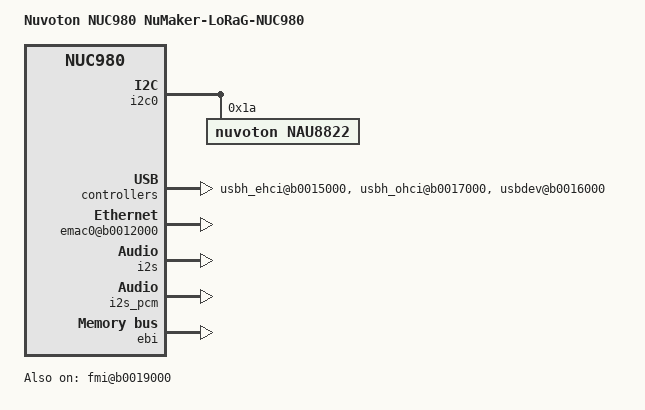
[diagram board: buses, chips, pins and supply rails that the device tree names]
/*
 * Device Tree Source for NUC980 DEV board
 *
 * Copyright (C) 2018 Nuvoton Technology Corp.
 *
 * The code contained herein is licensed under the GNU General Public
 * License. You may obtain a copy of the GNU General Public License
 * Version 2 or later at the following locations:
 *
 * http://www.opensource.org/licenses/gpl-license.html
 * http://www.gnu.org/copyleft/gpl.html
 */
/dts-v1/;

#include "nuc980.dtsi"

/ {
	model = "Nuvoton NUC980 NuMaker-LoRaG-NUC980";
	compatible = "nuvoton,nuc980-dev-v1.0", "nuvoton,nuc980";

	chosen {
		bootargs = "root=/dev/ram0 console=ttyS0,115200n8 rdinit=/sbin/init mem=64M lpj=744448";
	};

	apb {
		uart1: serial@b0071000 {
			status = "disabled";
		};

		uart2: serial@b0072000 {
			status = "disabled";
		};

		uart3: serial@b0073000 {
			status = "disabled";
		};

		uart4: serial@b0074000 {
			status = "disabled";
		};

		uart5: serial@b0075000 {
			status = "disabled";
		};

		uart6: serial@b0076000 {
			status = "disabled";
		};

		uart7: serial@b0077000 {
			status = "disabled";
		};

		uart8: serial@b0078000 {
			status = "disabled";
		};

		uart9: serial@b0079000 {
			status = "disabled";
		};

		can0: can@b00a0000 {
			status = "disabled";
		};

		can1: can@b00a1000 {
			status = "disabled";
		};

		rtc: rtc@b0041000 {
			status = "disabled";
		};

		nadc: nadc@b0043000 {
			status = "disabled";
		};

		pwm0: pwm@b0058000 {
			status = "disabled";
		};

		pwm1: pwm@b0059000 {
			status = "disabled";
		};


		etimer0: etimer0@b0050000 {
			status = "okay";
		};

		etimer1: etimer1@b0050100 {
			status = "okay";
		};

		etimer2: etimer2@b0051000 {
			status = "okay";
		};

		etimer3: etimer3@b0051100 {
			status = "okay";
		};

		i2c0: i2c0@b0080000 {
			status = "okay";

			pinctrl-0 = <&pinctrl_i2c0_PA>;
			nau8822: nau8822@1a {
				compatible = "nuvoton,nau8822";
				reg = <0x1a> ;
			};
		};

		i2c1: i2c1@b0081000 {
			status = "disabled";
			pinctrl-0 = <&pinctrl_i2c1_PB>;
		};


		i2c2: i2c2@b0082000 {
			status = "disabled";
			pinctrl-0 = <&pinctrl_i2c2_PB>;
		};

		keys: keys@b000b000 {
			status = "okay";
			key-matrix = <2 1>;
			gpio-keys-rows = <138
							  140>; /* PE10, PE12 */
			// gpio-keys-cols = <c0 c1>;  /* property for keypad matrix only */
			key-code = <KEY_DOWN
						KEY_UP>;
		};

	};

	ahb {

		usbh_ehci@b0015000 {
			status = "okay";
		};
		usbh_ohci@b0017000{
			status = "okay";
		};

		usbdev@b0016000 {
			status = "okay";
		};

		fmi@b0019000 {
			compatible = "nuvoton,nuc980-fmi", "nand";
			pinctrl-names = "default";
			pinctrl-0 = <&pinctrl_nand>;
			status = "okay";
			nand-ecc-mode = "hw_oob_first";
			nand-ecc-algo = "bch";
			nand-bus-width = <8>;
			nand-ecc-strength = <8>;
			nand-ecc-step-size = <512>;
			nand-on-flash-bbt;

			partitions {
				compatible = "fixed-partitions";
				#address-cells = <1>;
				#size-cells = <1>;

				uboot@0 {
					label = "uboot";
					reg = <0x0000000 0x200000>;
					read-only;
				};
				kernel@200000 {
					label = "kernel";
					reg = <0x200000 0x1400000>;
				};
				user@1600000 {
					label = "user";
					reg = <0x1600000 0x6480000>;
				};
			};
		};

		sdh@b0018000 {
			status = "okay";
		};

		emac0@b0012000 {
			status = "okay";
		};
		emac1@b0022000 {
			status = "disabled";
		};
		ccap0@b0024000 {
			status = "disabled";
		};
		i2c_gpio0: i2c-gpio-0 {
			status = "disabled";
		};
		ccap1@b0014000 {
			status = "disabled";
		};
		i2c_gpio1: i2c-gpio-1 {
			status = "disabled";
		};
		dma@b0008000 {
			status = "okay";
		};

		i2s: i2s@b0020000 {
			status = "okay";
		};

		i2s_pcm: i2s_pcm {
			status = "okay";
		};

		sound {
			compatible = "nuvoton,nuc980-audio";
			i2s-controller = <&i2s>;
			i2s-platform = <&i2s_pcm>;
			status = "disabled";
		};
		ebi: ebi@b0010000 {
			status = "okay";
		};
	};
};
